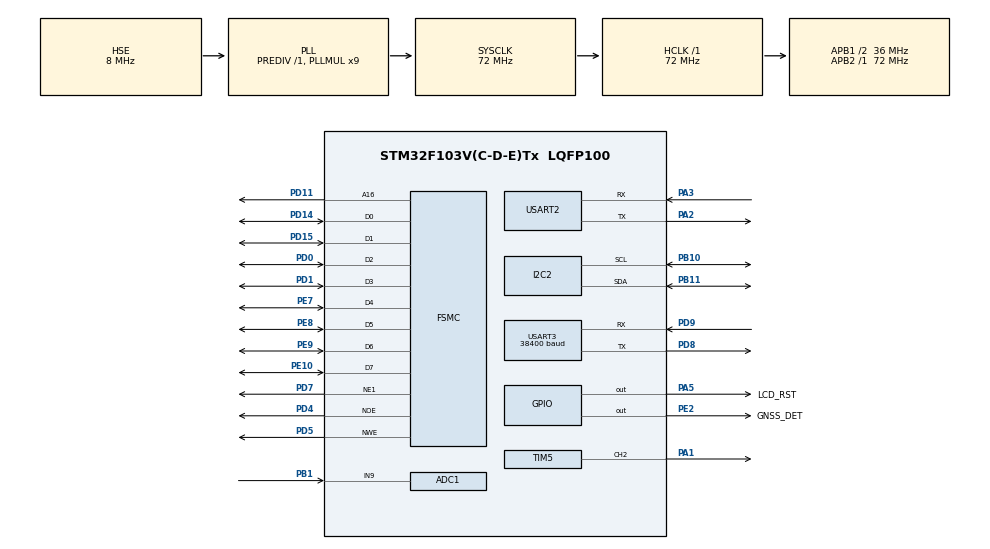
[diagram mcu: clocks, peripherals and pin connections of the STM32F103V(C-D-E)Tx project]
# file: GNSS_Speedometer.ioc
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ADC1.Channel-0\#ChannelRegularConversion=ADC_CHANNEL_VREFINT
ADC1.Channel-1\#ChannelRegularConversion=ADC_CHANNEL_9
ADC1.ContinuousConvMode=ENABLE
ADC1.NbrOfConversion=2
ADC1.NbrOfConversionFlag=1
ADC1.Rank-0\#ChannelRegularConversion=1
ADC1.Rank-1\#ChannelRegularConversion=2
ADC1.SamplingTime-0\#ChannelRegularConversion=ADC_SAMPLETIME_239CYCLES_5
ADC1.SamplingTime-1\#ChannelRegularConversion=ADC_SAMPLETIME_239CYCLES_5
ADC1.master=1
Dma.ADC1.0.Direction=DMA_PERIPH_TO_MEMORY
Dma.ADC1.0.Instance=DMA1_Channel1
Dma.ADC1.0.MemDataAlignment=DMA_MDATAALIGN_HALFWORD
Dma.ADC1.0.MemInc=DMA_MINC_ENABLE
Dma.ADC1.0.Mode=DMA_CIRCULAR
Dma.ADC1.0.PeriphDataAlignment=DMA_PDATAALIGN_HALFWORD
Dma.ADC1.0.PeriphInc=DMA_PINC_DISABLE
Dma.ADC1.0.Priority=DMA_PRIORITY_LOW
Dma.I2C2_RX.5.Direction=DMA_PERIPH_TO_MEMORY
Dma.I2C2_RX.5.Instance=DMA1_Channel5
Dma.I2C2_RX.5.MemDataAlignment=DMA_MDATAALIGN_BYTE
Dma.I2C2_RX.5.MemInc=DMA_MINC_ENABLE
Dma.I2C2_RX.5.Mode=DMA_NORMAL
Dma.I2C2_RX.5.PeriphDataAlignment=DMA_PDATAALIGN_BYTE
Dma.I2C2_RX.5.PeriphInc=DMA_PINC_DISABLE
Dma.I2C2_RX.5.Priority=DMA_PRIORITY_LOW
Dma.MEMTOMEM.4.Direction=DMA_MEMORY_TO_MEMORY
Dma.MEMTOMEM.4.Instance=DMA2_Channel1
Dma.MEMTOMEM.4.MemDataAlignment=DMA_MDATAALIGN_BYTE
Dma.MEMTOMEM.4.MemInc=DMA_MINC_DISABLE
Dma.MEMTOMEM.4.Mode=DMA_NORMAL
Dma.MEMTOMEM.4.PeriphDataAlignment=DMA_PDATAALIGN_BYTE
Dma.MEMTOMEM.4.PeriphInc=DMA_PINC_ENABLE
Dma.MEMTOMEM.4.Priority=DMA_PRIORITY_LOW
Dma.Request0=ADC1
Dma.Request1=USART2_TX
Dma.Request2=USART2_RX
Dma.Request3=USART3_RX
Dma.Request4=MEMTOMEM
Dma.Request5=I2C2_RX
Dma.USART2_RX.2.Direction=DMA_PERIPH_TO_MEMORY
Dma.USART2_RX.2.Instance=DMA1_Channel6
Dma.USART2_RX.2.MemDataAlignment=DMA_MDATAALIGN_BYTE
Dma.USART2_RX.2.MemInc=DMA_MINC_ENABLE
Dma.USART2_RX.2.Mode=DMA_NORMAL
Dma.USART2_RX.2.PeriphDataAlignment=DMA_PDATAALIGN_BYTE
Dma.USART2_RX.2.PeriphInc=DMA_PINC_DISABLE
Dma.USART2_RX.2.Priority=DMA_PRIORITY_LOW
Dma.USART2_TX.1.Direction=DMA_MEMORY_TO_PERIPH
Dma.USART2_TX.1.Instance=DMA1_Channel7
Dma.USART2_TX.1.MemDataAlignment=DMA_MDATAALIGN_BYTE
Dma.USART2_TX.1.MemInc=DMA_MINC_ENABLE
Dma.USART2_TX.1.Mode=DMA_NORMAL
Dma.USART2_TX.1.PeriphDataAlignment=DMA_PDATAALIGN_BYTE
Dma.USART2_TX.1.PeriphInc=DMA_PINC_DISABLE
Dma.USART2_TX.1.Priority=DMA_PRIORITY_LOW
Dma.USART3_RX.3.Direction=DMA_PERIPH_TO_MEMORY
Dma.USART3_RX.3.Instance=DMA1_Channel3
Dma.USART3_RX.3.MemDataAlignment=DMA_MDATAALIGN_BYTE
Dma.USART3_RX.3.MemInc=DMA_MINC_ENABLE
Dma.USART3_RX.3.Mode=DMA_NORMAL
Dma.USART3_RX.3.PeriphDataAlignment=DMA_PDATAALIGN_BYTE
Dma.USART3_RX.3.PeriphInc=DMA_PINC_DISABLE
Dma.USART3_RX.3.Priority=DMA_PRIORITY_LOW
FSMC.AddressSetupTime1=0
FSMC.BusTurnAroundDuration1=0
FSMC.DataSetupTime1=80
FSMC.ExtendedAddressSetupTime1=0
FSMC.ExtendedBusTurnAroundDuration1=0
FSMC.ExtendedDataSetupTime1=1
FSMC.ExtendedMode1=FSMC_EXTENDED_MODE_ENABLE
I2C2.I2C_Mode=I2C_Fast
Mcu.Family=STM32F1
Mcu.Name=STM32F103V(C-D-E)Tx
Mcu.Package=LQFP100
Mcu.UserConstants=TIM_BL,$$_TIM5_IP_HANDLE_$$;UART_PC,$$_USART2_IP_HANDLE_$$;I2C_ALS,$$_I2C2_IP_HANDLE_$$;TIM_VBat,$$_TIM6_IP_HANDLE_$$;UART_GNSS,$$_USART3_IP_HANDLE_$$;TIM_ALS,$$_TIM7_IP_HANDLE_$$
NVIC.DMA1_Channel1_IRQn=true\:3\:0\:true\:false\:true\:false\:true\:true
NVIC.DMA1_Channel3_IRQn=true\:2\:0\:true\:false\:true\:false\:true\:true
NVIC.DMA1_Channel5_IRQn=true\:3\:0\:true\:false\:true\:false\:true\:true
NVIC.DMA1_Channel6_IRQn=true\:3\:0\:true\:false\:true\:false\:true\:true
NVIC.DMA1_Channel7_IRQn=true\:3\:0\:true\:false\:true\:false\:true\:true
NVIC.DMA2_Channel1_IRQn=true\:3\:0\:true\:false\:true\:true\:true\:true
NVIC.PriorityGroup=NVIC_PRIORITYGROUP_4
NVIC.TIM6_IRQn=true\:4\:0\:true\:false\:true\:true\:true\:true
NVIC.TIM7_IRQn=true\:3\:0\:true\:false\:true\:true\:true\:true
NVIC.USART2_IRQn=true\:3\:0\:true\:false\:true\:true\:true\:true
NVIC.USART3_IRQn=true\:2\:0\:true\:false\:true\:true\:true\:true
OSC_IN.Mode=HSE-External-Oscillator
OSC_IN.Signal=RCC_OSC_IN
OSC_OUT.Mode=HSE-External-Oscillator
OSC_OUT.Signal=RCC_OSC_OUT
PA1.Signal=S_TIM5_CH2
PA13.Mode=Serial_Wire
PA13.Signal=SYS_JTMS-SWDIO
PA14.Mode=Serial_Wire
PA14.Signal=SYS_JTCK-SWCLK
PA2.Mode=Asynchronous
PA2.Signal=USART2_TX
PA3.GPIO_PuPd=GPIO_NOPULL
PA3.Mode=Asynchronous
PA3.Signal=USART2_RX
PA5.GPIO_Label=LCD_RST
PA5.PinState=GPIO_PIN_SET
PA5.Signal=GPIO_Output
PB1.Signal=ADCx_IN9
PB10.Mode=I2C
PB10.Signal=I2C2_SCL
PB11.Mode=I2C
PB11.Signal=I2C2_SDA
PD0.Mode=8b-d1
PD0.Signal=FSMC_D2
PD1.Mode=8b-d1
PD1.Signal=FSMC_D3
PD11.Mode=A16_1
PD11.Signal=FSMC_A16
PD14.Mode=8b-d1
PD14.Signal=FSMC_D0
PD15.Mode=8b-d1
PD15.Signal=FSMC_D1
PD4.Mode=Lcd1
PD4.Signal=FSMC_NOE
PD5.Mode=Lcd1
PD5.Signal=FSMC_NWE
PD7.Mode=NorPsramChipSelect1_1
PD7.Signal=FSMC_NE1
PD8.Mode=Asynchronous
PD8.Signal=USART3_TX
PD9.Mode=Asynchronous
PD9.Signal=USART3_RX
PE10.Mode=8b-d1
PE10.Signal=FSMC_D7
PE2.GPIO_Label=GNSS_DET
PE2.Signal=GPIO_Output
PE7.Mode=8b-d1
PE7.Signal=FSMC_D4
PE8.Mode=8b-d1
PE8.Signal=FSMC_D5
PE9.Mode=8b-d1
PE9.Signal=FSMC_D6
ProjectManager.HeapSize=0x200
ProjectManager.StackSize=0x400
ProjectManager.TargetToolchain=CMake
RCC.ADCPresc=RCC_ADCPCLK2_DIV6
RCC.AHBFreq_Value=72000000
RCC.APB1CLKDivider=RCC_HCLK_DIV2
RCC.APB1Freq_Value=36000000
RCC.APB1TimFreq_Value=72000000
RCC.APB2Freq_Value=72000000
RCC.APB2TimFreq_Value=72000000
RCC.EnbaleCSS=true
RCC.HCLKFreq_Value=72000000
RCC.PLLMUL=RCC_PLL_MUL9
RCC.PLLSourceVirtual=RCC_PLLSOURCE_HSE
RCC.SYSCLKFreq_VALUE=72000000
RCC.SYSCLKSource=RCC_SYSCLKSOURCE_PLLCLK
RCC.USBFreq_Value=72000000
SH.ADCx_IN9.0=ADC1_IN9,IN9
SH.S_TIM5_CH2.0=TIM5_CH2,PWM Generation2 CH2
TIM5.AutoReloadPreload=TIM_AUTORELOAD_PRELOAD_ENABLE
TIM5.Channel-PWM\ Generation2\ CH2=TIM_CHANNEL_2
TIM5.OCPolarity_2=TIM_OCPOLARITY_LOW
TIM5.Period=7200 - 1
TIM5.Prescaler=0
TIM5.Pulse-PWM\ Generation2\ CH2=7200
TIM6.AutoReloadPreload=TIM_AUTORELOAD_PRELOAD_ENABLE
TIM6.Period=5000 - 1
TIM6.Prescaler=7200 - 1
TIM7.Period=200 - 1
TIM7.Prescaler=7200 - 1
USART2.VirtualMode=VM_ASYNC
USART3.BaudRate=38400
USART3.VirtualMode=VM_ASYNC
VP_ADC1_Vref_Input.Mode=IN-Vrefint
VP_TIM6_VS_ClockSourceINT.Mode=Enable_Timer
VP_TIM7_VS_ClockSourceINT.Mode=Enable_Timer
board=custom

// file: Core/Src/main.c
/* USER CODE BEGIN Header */
/**
  ******************************************************************************
  * @file           : main.c
  * @brief          : Main program body
  ******************************************************************************
  * @attention
  *
  * Copyright (c) 2026 STMicroelectronics.
  * All rights reserved.
  *
  * This software is licensed under terms that can be found in the LICENSE file
  * in the root directory of this software component.
  * If no LICENSE file comes with this software, it is provided AS-IS.
  *
  ******************************************************************************
  */
/* USER CODE END Header */
#include "main.h"
#include "adc.h"
#include "dma.h"
#include "i2c.h"
#include "tim.h"
#include "usart.h"
#include "gpio.h"
#include "fsmc.h"

/* USER CODE BEGIN Includes */
#include "nmea.h"
#include "lvgl/lvgl.h"
#include "lvgl/examples/porting/lv_port_disp.h"
#include "als.h"
/* USER CODE END Includes */

/* USER CODE BEGIN PD */
#define RX_BUFFER_SIZE 2048
/* USER CODE END PD */

/* USER CODE BEGIN PV */
lv_disp_drv_t * disp_drv;
extern DMA_HandleTypeDef hdma_usart2_rx, hdma_usart3_rx;
uint16_t ADC[2], mVBat;
uint8_t RxBuffer[RX_BUFFER_SIZE];
extern NMEAData_t NMEAData;
lv_obj_t *mVBat_label, *locateStatus_label, *speed_label, *course_label, *time_label,
*quality_label, *satelliteCount_label, *altitude_label, *hdop_label, *vdop_label;
uint8_t brightness_tmp[4], als_data[3];
uint16_t brightness;
/* USER CODE END PV */

void SystemClock_Config(void);
/* USER CODE BEGIN PFP */
void LVGL_DMA_pCallback(DMA_HandleTypeDef *_hdma);
void LVGL_UI_Init(void);
void LVGL_UI_Refresh(void);
/* USER CODE END PFP */

int main(void)
{

  /* MCU Configuration--------------------------------------------------------*/

  /* Reset of all peripherals, Initializes the Flash interface and the Systick. */
  HAL_Init();

  /* Configure the system clock */
  SystemClock_Config();

  /* Initialize all configured peripherals */
  MX_GPIO_Init();
  MX_DMA_Init();
  MX_ADC1_Init();
  MX_FSMC_Init();
  MX_TIM5_Init();
  MX_USART2_UART_Init();
  MX_TIM6_Init();
  MX_USART3_UART_Init();
  MX_I2C2_Init();
  MX_TIM7_Init();
  /* USER CODE BEGIN 2 */
  HAL_ADCEx_Calibration_Start(&hadc1);
  lv_init();
  lv_port_disp_init();
  LVGL_UI_Init();
  disp_drv = lv_disp_get_default()->driver;
  HAL_DMA_RegisterCallback(&hdma_memtomem_dma2_channel1, HAL_DMA_XFER_CPLT_CB_ID, LVGL_DMA_pCallback);
  ALS_Init();
  /* USER CODE END 2 */

  /* Infinite loop */
  /* USER CODE BEGIN WHILE */
  HAL_ADC_Start_DMA(&hadc1, (uint32_t*)&ADC[0], 2);
  HAL_UARTEx_ReceiveToIdle_DMA(&UART_GNSS, &RxBuffer[0], RX_BUFFER_SIZE);
  __HAL_DMA_DISABLE_IT(&hdma_usart3_rx, DMA_IT_HT);
  HAL_UARTEx_ReceiveToIdle_DMA(&UART_PC, &brightness_tmp[0], 4);
  __HAL_DMA_DISABLE_IT(&hdma_usart2_rx, DMA_IT_HT);
  HAL_TIM_PWM_Start(&TIM_BL, TIM_CHANNEL_2);
  HAL_TIM_Base_Start_IT(&TIM_VBat);
  HAL_TIM_Base_Start_IT(&TIM_ALS);
  while (ADC[1] == 0);
  mVBat = 1550 * ADC[1] / ADC[0];
  lv_label_set_text_fmt(mVBat_label, "%dmV", mVBat);
  while (1)
  {
    /* USER CODE END WHILE */

    /* USER CODE BEGIN 3 */
    lv_task_handler();
  }
  /* USER CODE END 3 */
}

void SystemClock_Config(void)
{
  RCC_OscInitTypeDef RCC_OscInitStruct = {0};
  RCC_ClkInitTypeDef RCC_ClkInitStruct = {0};
  RCC_PeriphCLKInitTypeDef PeriphClkInit = {0};

  /** Initializes the RCC Oscillators according to the specified parameters
  * in the RCC_OscInitTypeDef structure.
  */
  RCC_OscInitStruct.OscillatorType = RCC_OSCILLATORTYPE_HSE;
  RCC_OscInitStruct.HSEState = RCC_HSE_ON;
  RCC_OscInitStruct.HSEPredivValue = RCC_HSE_PREDIV_DIV1;
  RCC_OscInitStruct.HSIState = RCC_HSI_ON;
  RCC_OscInitStruct.PLL.PLLState = RCC_PLL_ON;
  RCC_OscInitStruct.PLL.PLLSource = RCC_PLLSOURCE_HSE;
  RCC_OscInitStruct.PLL.PLLMUL = RCC_PLL_MUL9;
  if (HAL_RCC_OscConfig(&RCC_OscInitStruct) != HAL_OK)
  {
    Error_Handler();
  }

  /** Initializes the CPU, AHB and APB buses clocks
  */
  RCC_ClkInitStruct.ClockType = RCC_CLOCKTYPE_HCLK|RCC_CLOCKTYPE_SYSCLK
                              |RCC_CLOCKTYPE_PCLK1|RCC_CLOCKTYPE_PCLK2;
  RCC_ClkInitStruct.SYSCLKSource = RCC_SYSCLKSOURCE_PLLCLK;
  RCC_ClkInitStruct.AHBCLKDivider = RCC_SYSCLK_DIV1;
  RCC_ClkInitStruct.APB1CLKDivider = RCC_HCLK_DIV2;
  RCC_ClkInitStruct.APB2CLKDivider = RCC_HCLK_DIV1;

  if (HAL_RCC_ClockConfig(&RCC_ClkInitStruct, FLASH_LATENCY_2) != HAL_OK)
  {
    Error_Handler();
  }
  PeriphClkInit.PeriphClockSelection = RCC_PERIPHCLK_ADC;
  PeriphClkInit.AdcClockSelection = RCC_ADCPCLK2_DIV6;
  if (HAL_RCCEx_PeriphCLKConfig(&PeriphClkInit) != HAL_OK)
  {
    Error_Handler();
  }

  /** Enables the Clock Security System
  */
  HAL_RCC_EnableCSS();
}

/* USER CODE BEGIN 4 */
void LVGL_DMA_pCallback(DMA_HandleTypeDef *_hdma)
{
    /* Inform LVGL that flushing is ready */
    lv_disp_flush_ready(disp_drv);
    return;
}

void HAL_TIM_PeriodElapsedCallback(TIM_HandleTypeDef *htim)
{
  if (htim == &TIM_VBat)
  {
    mVBat = 1550 * ADC[1] / ADC[0];
    lv_label_set_text_fmt(mVBat_label, "%dmV", mVBat);
  }
  else if (htim == &TIM_ALS)
  {
    ALS_Read(ALS_DATA_0, &als_data[0], 3);
  }
  return;
}

void HAL_I2C_MemRxCpltCallback(I2C_HandleTypeDef *hi2c)
{
  if (hi2c == &I2C_ALS)
  {
    uint16_t duty;
    uint32_t als_value = (als_data[2] << 16) | (als_data[1] << 8) | als_data[0];
    if (als_value >= 3200)
      duty = 5000 + (als_value - 3200) * (7200 - 5000) / (100000 - 3200);
    else
      duty = 80 + als_value * (5000 - 80) / 3200;
    duty = (duty + __HAL_TIM_GET_COMPARE(&TIM_BL, TIM_CHANNEL_2) * 63) / 64;
    duty = duty > 7200 ? 7200 : duty;
    __HAL_TIM_SET_COMPARE(&TIM_BL, TIM_CHANNEL_2, duty);
  }
  return;
}

void LVGL_UI_Init(void)
{
  static lv_style_t consolas_20_style;
  lv_style_init(&consolas_20_style);
  lv_style_set_text_font(&consolas_20_style, &consolas_20);
  static lv_style_t consolas_60_style;
  lv_style_init(&consolas_60_style);
  lv_style_set_text_font(&consolas_60_style, &consolas_60);
  mVBat_label = lv_label_create(lv_scr_act());
  lv_obj_add_style(mVBat_label, &consolas_20_style, 0);
  lv_obj_align(mVBat_label, LV_ALIGN_TOP_RIGHT, -5, 3);
  satelliteCount_label = lv_label_create(lv_scr_act());
  lv_obj_add_style(satelliteCount_label, &consolas_20_style, 0);
  lv_obj_align(satelliteCount_label, LV_ALIGN_TOP_LEFT, 5, 3);
  quality_label = lv_label_create(lv_scr_act());
  lv_obj_add_style(quality_label, &consolas_20_style, 0);
  lv_obj_align_to(quality_label, satelliteCount_label, LV_ALIGN_OUT_RIGHT_MID, 0, 0);
  locateStatus_label = lv_label_create(lv_scr_act());
  lv_obj_add_style(locateStatus_label, &consolas_20_style, 0);
  lv_obj_align(locateStatus_label, LV_ALIGN_CENTER, 0, -80);
  speed_label = lv_label_create(lv_scr_act());
  lv_obj_add_style(speed_label, &consolas_60_style, 0);
  lv_obj_align(speed_label, LV_ALIGN_CENTER, 0, 00);
  course_label = lv_label_create(lv_scr_act());
  lv_obj_add_style(course_label, &consolas_20_style, 0);
  lv_obj_align(course_label, LV_ALIGN_CENTER, 0, -40);
  time_label = lv_label_create(lv_scr_act());
  lv_obj_add_style(time_label, &consolas_20_style, 0);
  lv_obj_align(time_label, LV_ALIGN_TOP_MID, 0, 3);
  altitude_label = lv_label_create(lv_scr_act());
  lv_obj_add_style(altitude_label, &consolas_20_style, 0);
  lv_obj_align(altitude_label, LV_ALIGN_CENTER, 0, 40);
  hdop_label = lv_label_create(lv_scr_act());
  lv_obj_add_style(hdop_label, &consolas_20_style, 0);
  lv_obj_align(hdop_label, LV_ALIGN_CENTER, 0, 60);
  vdop_label = lv_label_create(lv_scr_act());
  lv_obj_add_style(vdop_label, &consolas_20_style, 0);
  lv_obj_align(vdop_label, LV_ALIGN_CENTER, 0, 80);
  return;
}

void LVGL_UI_Refresh(void)
{
  lv_label_set_text_fmt(locateStatus_label, "%c", NMEAData.status);
  lv_label_set_text_fmt(speed_label, "%d.%02d", NMEAData.speed_kmh.integer, NMEAData.speed_kmh.decimal);
  lv_label_set_text_fmt(course_label, "%d.%02d", NMEAData.course.integer, NMEAData.course.decimal);
  lv_label_set_text_fmt(time_label, "%02d:%02d:%02d", NMEAData.hour, NMEAData.minute, NMEAData.second);
  lv_label_set_text_fmt(quality_label, "%c", NMEAData.quality);
  lv_label_set_text_fmt(satelliteCount_label, "%d", NMEAData.satelliteCount);
  if (!NMEAData.altitude.sign)
  {
    lv_label_set_text_fmt(altitude_label, "%d.%01d", NMEAData.altitude.integer, NMEAData.altitude.decimal);
  }
  else
  {
    lv_label_set_text_fmt(altitude_label, "-%d.%01d", NMEAData.altitude.integer, NMEAData.altitude.decimal);
  }
  lv_label_set_text_fmt(hdop_label, "%d.%02d", NMEAData.hdop.integer, NMEAData.hdop.decimal);
  lv_label_set_text_fmt(vdop_label, "%d.%02d", NMEAData.vdop.integer, NMEAData.vdop.decimal);
  return;
}

void HAL_UARTEx_RxEventCallback(UART_HandleTypeDef *huart, uint16_t size)
{
  if (huart == &UART_GNSS)
  {
    HAL_UART_Transmit_DMA(&huart2, &RxBuffer[0], size);
    NMEAHandler(&RxBuffer[0], size);
    LVGL_UI_Refresh();
    HAL_UARTEx_ReceiveToIdle_DMA(&UART_GNSS, &RxBuffer[0], RX_BUFFER_SIZE);
    __HAL_DMA_DISABLE_IT(&hdma_usart3_rx, DMA_IT_HT);
  }
  return;
}
/* USER CODE END 4 */

void Error_Handler(void)
{
  __disable_irq();
  while (1)
  {
  }
}
